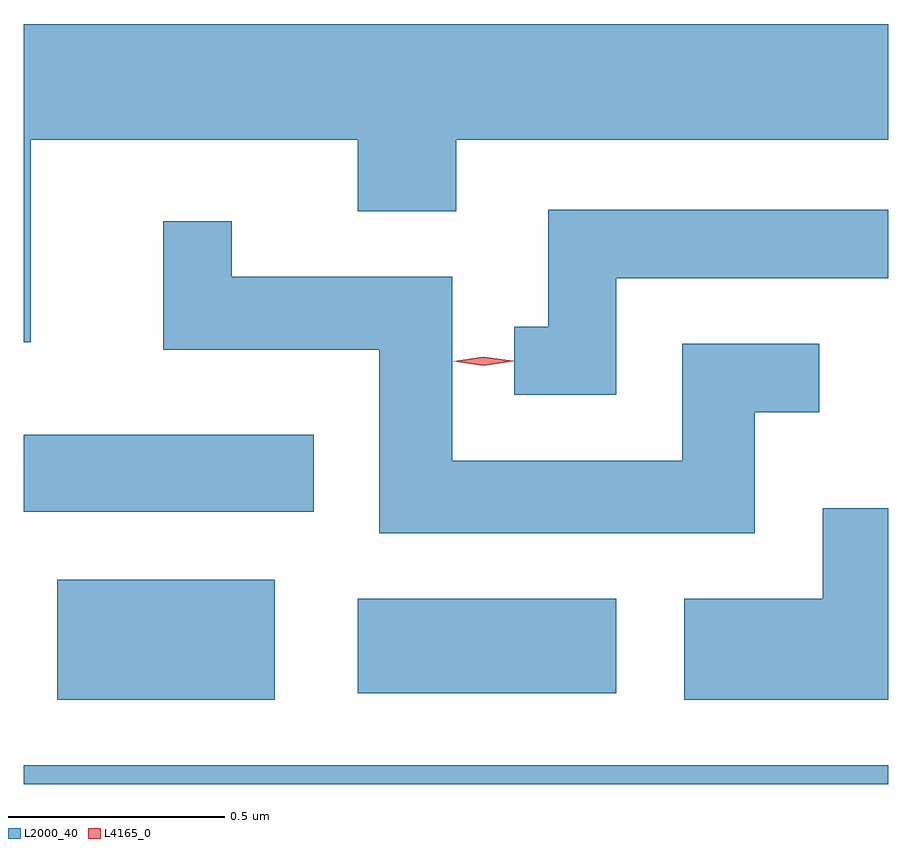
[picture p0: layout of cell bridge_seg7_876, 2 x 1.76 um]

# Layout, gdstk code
import gdstk
lib = gdstk.Library(unit=1e-6, precision=1e-09)
def R(c, l, rs):  # rectangles x0, y0, x1, y1
    for r in rs: c.add(gdstk.rectangle(r[:2], r[2:], *l))
def P(c, l, *ps):  # polygons
    for p in ps: c.add(gdstk.Polygon(p, *l))
L2000_40 = (2000, 40)
L4165_0 = (4165, 0)

bridge_seg7_876 = lib.new_cell('bridge_seg7_876')
R(bridge_seg7_876, L2000_40, [(317.338,1668.426,319.338,1668.469), (317.416,1668.621,317.919,1668.899), (318.111,1668.636,318.709,1668.854), (317.338,1669.056,318.009,1669.234)])
P(bridge_seg7_876, L2000_40, [(317.354,1669.916),(318.111,1669.916),(318.111,1669.751),(318.339,1669.751),(318.339,1669.916),(319.338,1669.916),(319.338,1670.184),(317.338,1670.184),(317.338,1669.448),(317.354,1669.448)],
  [(318.709,1669.596),(319.338,1669.596),(319.338,1669.754),(318.551,1669.754),(318.551,1669.484),(318.473,1669.484),(318.473,1669.326),(318.709,1669.326)],
  [(319.029,1669.286),(319.178,1669.286),(319.178,1669.444),(318.861,1669.444),(318.861,1669.174),(318.329,1669.174),(318.329,1669.599),(317.819,1669.599),(317.819,1669.728),(317.661,1669.728),(317.661,1669.431),(318.161,1669.431),(318.161,1669.006),(319.029,1669.006)],
  [(319.338,1669.064),(319.186,1669.064),(319.186,1668.854),(318.866,1668.854),(318.866,1668.621),(319.338,1668.621)])
P(bridge_seg7_876, L4165_0, [(318.401,1669.394),(318.332,1669.404),(318.332,1669.404),(318.332,1669.404),(318.401,1669.414),(318.471,1669.405),(318.471,1669.405),(318.471,1669.404)])

lib.write_gds('bridge_seg7_876.gds')
